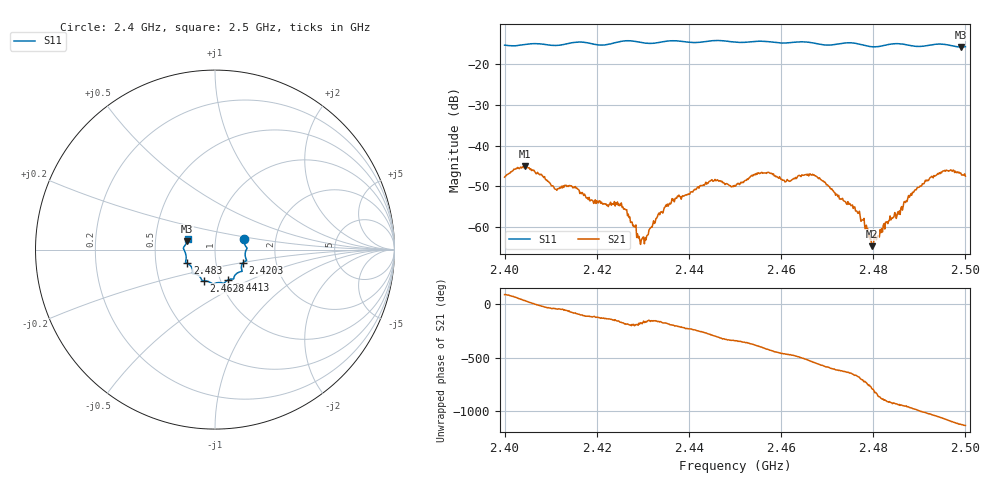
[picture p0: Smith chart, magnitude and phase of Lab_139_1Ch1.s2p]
# Hz S RI R 50
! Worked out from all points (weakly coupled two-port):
!   601 points, 2.4 GHz to 2.5 GHz, reference 50 ohm
!   highest |S21| = -45.00 dB at 2.4043 GHz (marker M1); lowest = -64.6 dB at 2.4797 GHz (marker M2)
!   lowest |S11| = -15.8 dB at 2.499 GHz (marker M3), VSWR 1.39, Z = 36.4 + j3.39 ohm
!   |S11| at or under -10 dB: start of sweep to end of sweep
!   S12 and S22 are empty: the file has one direction only
!   S11 on the Smith chart (normalised r, x): 2.4 GHz: 1.37, +0.16; 2.4203 GHz: 1.35, -0.21; 2.4413 GHz: 1.09, -0.38; 2.4628 GHz: 0.83, -0.30; 2.483 GHz: 0.72, -0.11; 2.5 GHz: 0.73, +0.09
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2.4e9  0.1612 0.057  -0.000202 0.00411  0 0  0 0
2.404333e9  0.173 0.0159  0.00444 0.00345  0 0  0 0
2.411167e9  0.1679 -0.0226  0.00217 -0.00196  0 0  0 0
2.414167e9  0.1731 -0.0523  0.00115 -0.00304  0 0  0 0
2.416667e9  0.176 -0.0615  -0.000376 -0.00255  0 0  0 0
2.420333e9  0.1552 -0.0742  -0.00108 -0.00167  0 0  0 0
2.425667e9  0.1513 -0.118  -0.00176 -0.00021  0 0  0 0
2.429833e9  0.1339 -0.1254  -0.000721 2.33e-05  0 0  0 0
2.433333e9  0.108 -0.1484  -0.00136 -0.000474  0 0  0 0
2.441333e9  0.0746 -0.1681  -0.00149 0.00252  0 0  0 0
2.445167e9  0.0517 -0.187  0.00137 0.00341  0 0  0 0
2.45e9  0.0291 -0.184  0.00301 0.00104  0 0  0 0
2.4555e9  -0.01 -0.1909  0.00355 -0.00292  0 0  0 0
2.462833e9  -0.0629 -0.1746  -0.00209 -0.0034  0 0  0 0
2.466667e9  -0.0744 -0.1674  -0.00435 -0.000188  0 0  0 0
2.4765e9  -0.125 -0.1275  0.00113 0.00107  0 0  0 0
2.479667e9  -0.1298 -0.0995  0.000184 -0.000557  0 0  0 0
2.483e9  -0.1548 -0.0767  -0.00113 0.000301  0 0  0 0
2.483333e9  -0.157 -0.0756  -0.00112 0.000429  0 0  0 0
2.492667e9  -0.1727 -0.0016  0.00316 0.00278  0 0  0 0
2.499e9  -0.1557 0.0453  0.00295 -0.00355  0 0  0 0
2.5e9  -0.1527 0.0585  0.0021 -0.00367  0 0  0 0
